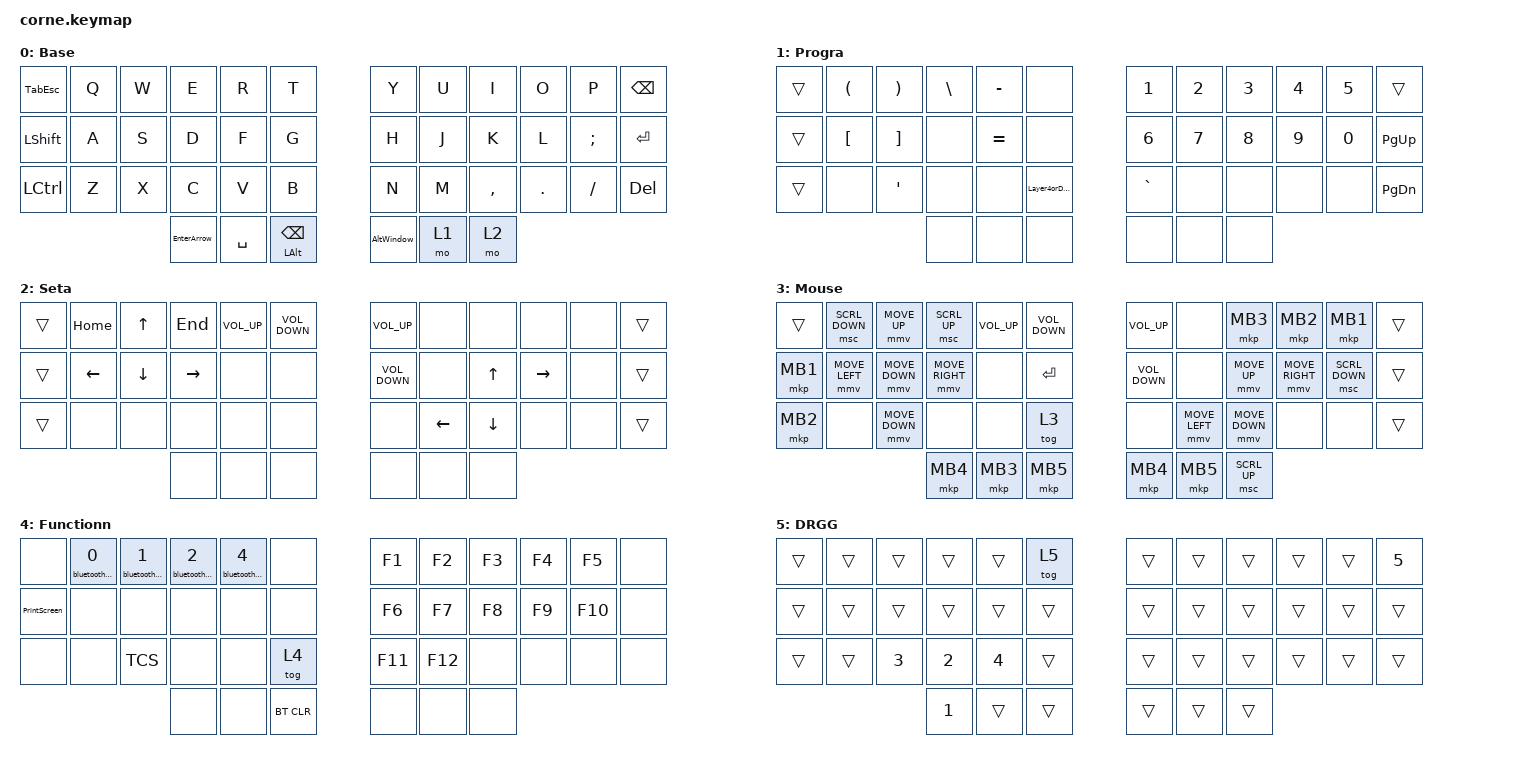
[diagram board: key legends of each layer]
/*
 * Copyright (c) 2020 The ZMK Contributors
 *
 * SPDX-License-Identifier: MIT
 */

#include <behaviors.dtsi>
#include <dt-bindings/zmk/bt.h>
#include <dt-bindings/zmk/keys.h>
#include <dt-bindings/zmk/pointing.h>

#define ZMK_POINTING_DEFAULT_MOVE_VAL 3500

#define PASS_KEYS &kp S &kp A &kp AT_SIGN &kp B &kp T &kp H &kp N0 &kp EXCLAMATION &kp EXCLAMATION &kp EXCLAMATION

&mmv { time-to-max-speed-ms = <600>; };

/ {
    behaviors {
        AltWindow: AltWindow {
            compatible = "zmk,behavior-tap-dance";
            label = "ALTWINDOW";
            #binding-cells = <0>;
            bindings = <&kp LEFT_ALT>, <&kp LEFT_GUI>;
        };

        EnterArrow: EnterArrow {
            compatible = "zmk,behavior-tap-dance";
            label = "ENTERARROW";
            #binding-cells = <0>;
            bindings = <&kp ENTER>, <&mo 2>;
        };

        TabEsc: TabEsc {
            compatible = "zmk,behavior-tap-dance";
            label = "TABESC";
            #binding-cells = <0>;
            bindings = <&kp TAB>, <&kp ESC>;

            tapping-term-ms = <200>;
        };

        Layer4orDRG: Layer4orDRG {
            compatible = "zmk,behavior-tap-dance";
            label = "LAYER4ORDRG";
            #binding-cells = <0>;
            bindings = <&sl 4>, <&tog 5>;
        };

        TCS: TCS {
            compatible = "zmk,behavior-tap-dance";
            label = "TCS";
            #binding-cells = <0>;
            bindings = <&Pass>, <&VDI>, <&LogarTCS>;
        };
    };

    combos {
        compatible = "zmk,combos";

        MouseCombo {
            bindings = <&tog 3>;
            key-positions = <5 16>;
            timeout-ms = <350>;
            layers = <0 1 2>;
        };

        MouseCombo2 {
            bindings = <&tog 3>;
            key-positions = <9 10>;
            layers = <0 2 1>;
            timeout-ms = <350>;
        };
    };

    macros {
        bluetooth_macro: bluetooth_macro {
            compatible = "zmk,behavior-macro-one-param";
            #binding-cells = <1>;
            bindings =
                <&macro_param_1to2 &bt BT_SEL MACRO_PLACEHOLDER &kp F24 &tog 3>,
                <&macro_tap>;

            label = "BLUETOOTH_MACRO";
        };

        PrintScreen: PrintScreen {
            compatible = "zmk,behavior-macro";
            #binding-cells = <0>;
            bindings =
                <&sk LEFT_GUI &sk LEFT_SHIFT &kp S &tog 3>,
                <&macro_release>;

            label = "PRINTSCREEN";
        };

        VDI: AccessTCS {
            compatible = "zmk,behavior-macro";
            #binding-cells = <0>;
            bindings = <&kp S &kp B &kp A &kp NUMBER_0 &kp K &kp C &kp I &kp TAB PASS_KEYS &kp EXCLAMATION &kp EXCLAMATION &kp EXCLAMATION &kp EXCLAMATION &kp EXCLAMATION &kp LS(A) &kp TAB &kp NUMBER_1 &kp NUMBER_2 &kp NUMBER_3 &kp NUMBER_4 &kp N5 &kp NUMBER_6 &kp N7 &kp N8>;
            label = "ACCESSTCS";
        };

        Pass: Pass {
            compatible = "zmk,behavior-macro";
            #binding-cells = <0>;
            bindings = <PASS_KEYS>;
            label = "PASS";
        };

        LogarTCS: LogarTCS {
            compatible = "zmk,behavior-macro";
            #binding-cells = <0>;
            bindings = <&kp N2 &kp N8 &kp N4 &kp N9 &kp N5 &kp N0 &kp N8 &kp AT_SIGN &kp T &kp C &kp S &kp DOT &kp C &kp O &kp M &kp TAB PASS_KEYS &kp BACKSPACE PASS_KEYS &kp BACKSPACE &kp LS(A)>;
        };
    };

    keymap {
        compatible = "zmk,keymap";
        wakeup-source;

        Basee {
            // -----------------------------------------------------------------------------------------
            // |  TAB |  Q  |  W  |  E  |  R  |  T  |   |  Y  |  U   |  I  |  O  |  P  | BSPC |
            // | CTRL |  A  |  S  |  D  |  F  |  G  |   |  H  |  J   |  K  |  L  |  ;  |  '   |
            // | SHFT |  Z  |  X  |  C  |  V  |  B  |   |  N  |  M   |  ,  |  .  |  /  | ESC  |
            //                    | GUI | LWR | SPC |   | ENT | RSE  | ALT |

            bindings = <
&TabEsc         &kp Q  &kp W  &kp E        &kp R      &kp T                     &kp Y       &kp U  &kp I      &kp O    &kp P     &kp BSPC
&kp LEFT_SHIFT  &kp A  &kp S  &kp D        &kp F      &kp G                     &kp H       &kp J  &kp K      &kp L    &kp SEMI  &kp RET
&kp LCTRL       &kp Z  &kp X  &kp C        &kp V      &kp B                     &kp N       &kp M  &kp COMMA  &kp DOT  &kp FSLH  &kp DEL
                              &EnterArrow  &kp SPACE  &mt LEFT_ALT BACKSPACE    &AltWindow  &mo 1  &mo 2
            >;

            label = "Base";
        };

        Prograa {
            // -----------------------------------------------------------------------------------------
            // |  TAB |  !  |  @  |  #  |  $  |  %  |   |  ^  |  &  |  *  |  (  |  )  | BSPC |
            // | CTRL |     |     |     |     |     |   |  -  |  =  |  [  |  ]  |  \  |  `   |
            // | SHFT |     |     |     |     |     |   |  _  |  +  |  {  |  }  | "|" |  ~   |
            //                    | GUI |     | SPC |   | ENT |     | ALT |

            bindings = <
&trans  &kp LEFT_PARENTHESIS  &kp RIGHT_PARENTHESIS  &kp BACKSLASH  &kp MINUS  &none           &kp NUMBER_1  &kp NUMBER_2  &kp NUMBER_3  &kp NUMBER_4  &kp N5  &trans
&trans  &kp LEFT_BRACKET      &kp RIGHT_BRACKET      &none          &kp EQUAL  &none           &kp N6        &kp N7        &kp N8        &kp N9        &kp N0  &kp PAGE_UP
&trans  &none                 &kp APOS               &none          &none      &Layer4orDRG    &kp GRAVE     &none         &none         &none         &none   &kp PAGE_DOWN
                                                     &none          &none      &none           &none         &none         &none
            >;

            label = "Progra";
        };

        Setaa {
            // -----------------------------------------------------------------------------------------
            // |  TAB |  1  |  2  |  3  |  4  |  5  |   |  6  |  7  |  8  |  9  |  0  | BSPC |
            // | BTCLR| BT1 | BT2 | BT3 | BT4 | BT5 |   | LFT | DWN |  UP | RGT |     |      |
            // | SHFT |     |     |     |     |     |   |     |     |     |     |     |      |
            //                    | GUI |     | SPC |   | ENT |     | ALT |

            bindings = <
&trans  &kp HOME  &kp UP_ARROW  &kp END          &kp C_VOLUME_UP  &kp C_VOLUME_DOWN    &kp C_VOLUME_UP    &none           &none           &none            &none  &trans
&trans  &kp LEFT  &kp DOWN      &kp RIGHT_ARROW  &none            &none                &kp C_VOLUME_DOWN  &none           &kp UP_ARROW    &kp RIGHT_ARROW  &none  &trans
&trans  &none     &none         &none            &none            &none                &none              &kp LEFT_ARROW  &kp DOWN_ARROW  &none            &none  &trans
                                &none            &none            &none                &none              &none           &none
            >;

            label = "Seta";
        };

        Mousee {
            bindings = <
&trans    &msc SCRL_DOWN  &mmv MOVE_UP    &msc SCRL_UP     &kp C_VOLUME_UP  &kp C_VOLUME_DOWN    &kp C_VOLUME_UP    &none           &mkp MB3        &mkp MB2         &mkp MB1        &trans
&mkp MB1  &mmv MOVE_LEFT  &mmv MOVE_DOWN  &mmv MOVE_RIGHT  &none            &kp ENTER            &kp C_VOLUME_DOWN  &none           &mmv MOVE_UP    &mmv MOVE_RIGHT  &msc SCRL_DOWN  &trans
&mkp MB2  &none           &mmv MOVE_DOWN  &none            &none            &tog 3               &none              &mmv MOVE_LEFT  &mmv MOVE_DOWN  &none            &none           &trans
                                          &mkp MB4         &mkp MB3         &mkp MB5             &mkp MB4           &mkp MB5        &msc SCRL_UP
            >;

            label = "Mouse";
        };

        Function {
            bindings = <
&none         &bluetooth_macro 0  &bluetooth_macro 1  &bluetooth_macro 2  &bluetooth_macro 4  &none         &kp F1   &kp F2   &kp F3  &kp F4  &kp F5   &none
&PrintScreen  &none               &none               &none               &none               &none         &kp F6   &kp F7   &kp F8  &kp F9  &kp F10  &none
&none         &none               &TCS                &none               &none               &tog 4        &kp F11  &kp F12  &none   &none   &none    &none
                                                      &none               &none               &bt BT_CLR    &none    &none    &none
            >;

            label = "Functionn";
        };

        DRG {
            bindings = <
&trans  &trans  &trans        &trans        &trans        &tog 5    &trans  &trans  &trans  &trans  &trans  &kp N5
&trans  &trans  &trans        &trans        &trans        &trans    &trans  &trans  &trans  &trans  &trans  &trans
&trans  &trans  &kp NUMBER_3  &kp NUMBER_2  &kp NUMBER_4  &trans    &trans  &trans  &trans  &trans  &trans  &trans
                              &kp NUMBER_1  &trans        &trans    &trans  &trans  &trans
            >;

            label = "DRGG";
        };
    };
};
